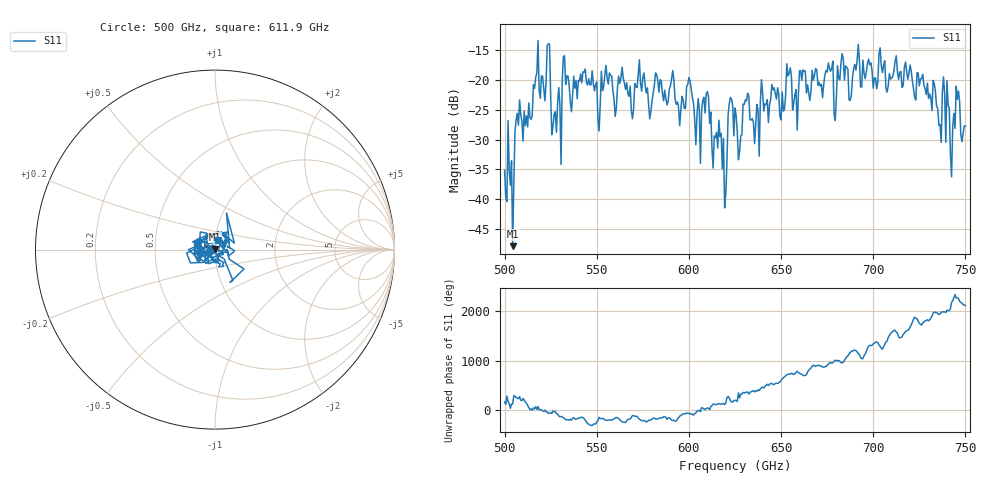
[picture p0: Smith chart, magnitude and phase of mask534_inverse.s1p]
!Created with skrf (http://scikit-rf.org).
# GHz S MA R 50.0
!freq magS11 angS11
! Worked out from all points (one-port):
!   401 points, 500 GHz to 750 GHz, reference 50 ohm
!   lowest |S11| = -47.8 dB at 504.4 GHz (marker M1), VSWR 1.01, Z = 49.8 + j0.337 ohm
!   |S11| at or under -10 dB: start of sweep to end of sweep
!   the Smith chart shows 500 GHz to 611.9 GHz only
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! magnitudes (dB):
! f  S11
! 500 GHz  -35.1
! 504.4 GHz  -47.8
! 506.9 GHz  -25.6
! 513.8 GHz  -26.3
! 516.9 GHz  -19.6
! 523.8 GHz  -13.9
! 526.9 GHz  -25.8
! 531.2 GHz  -20.4
! 562.5 GHz  -20.6
! 593.8 GHz  -23.7
! 600 GHz  -19.6
! 605 GHz  -23.2
! 609.4 GHz  -22.5
! 619.4 GHz  -41.4
! 622.5 GHz  -22.9
! 625 GHz  -24.7
! 627.5 GHz  -32.0
! 631.2 GHz  -23.5
! 636.9 GHz  -24.1
! 656.2 GHz  -25.0
! 687.5 GHz  -23.4
! 691.2 GHz  -16.8
! 718.8 GHz  -19.9
! 735.6 GHz  -27.6
! 738.8 GHz  -22.4
! 743.1 GHz  -27.9
! 745.6 GHz  -23.3
! 750 GHz  -27.7
